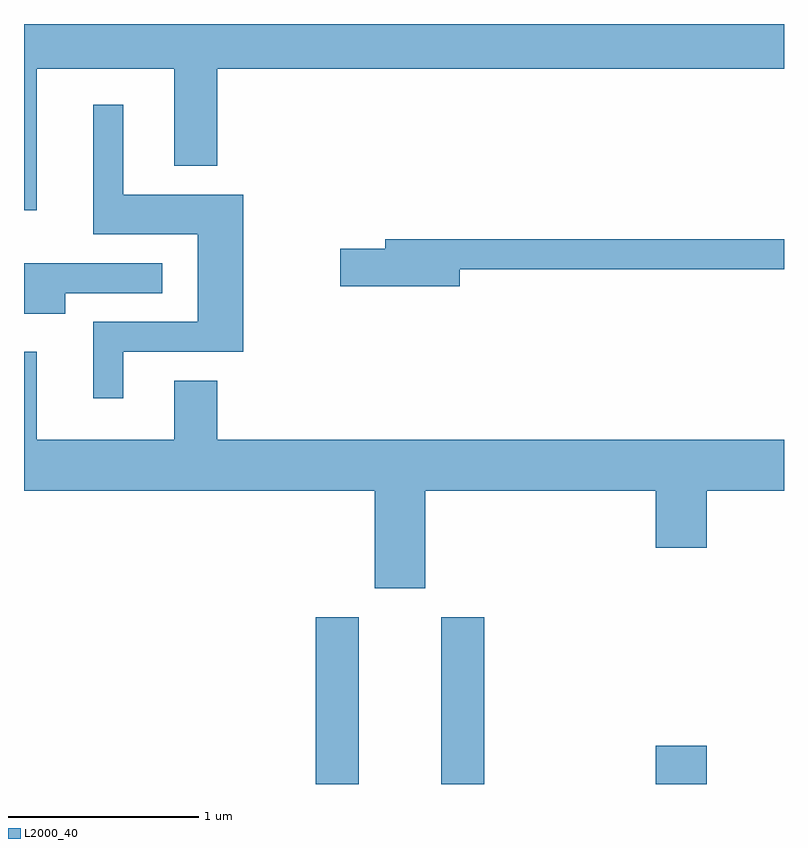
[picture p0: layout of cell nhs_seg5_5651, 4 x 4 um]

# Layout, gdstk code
import gdstk
lib = gdstk.Library(unit=1e-6, precision=1e-09)
def R(c, l, rs):  # rectangles x0, y0, x1, y1
    for r in rs: c.add(gdstk.rectangle(r[:2], r[2:], *l))
def P(c, l, *ps):  # polygons
    for p in ps: c.add(gdstk.Polygon(p, *l))
L2000_40 = (2000, 40)

nhs_seg5_5651 = lib.new_cell('nhs_seg5_5651')
R(nhs_seg5_5651, L2000_40, [(353.146,1524.072,353.374,1524.949), (353.806,1524.072,354.034,1524.949), (354.936,1524.072,355.204,1524.274)])
P(nhs_seg5_5651, L2000_40, [(351.679,1527.836),(352.401,1527.836),(352.401,1527.326),(352.629,1527.326),(352.629,1527.836),(355.611,1527.836),(355.611,1528.072),(351.611,1528.072),(351.611,1527.093),(351.679,1527.093)],
  [(352.134,1526.346),(352.764,1526.346),(352.764,1527.174),(352.134,1527.174),(352.134,1527.648),(351.976,1527.648),(351.976,1526.966),(352.526,1526.966),(352.526,1526.504),(351.976,1526.504),(351.976,1526.103),(352.134,1526.103)],
  [(353.904,1526.781),(355.611,1526.781),(355.611,1526.939),(353.511,1526.939),(353.511,1526.889),(353.276,1526.889),(353.276,1526.691),(353.904,1526.691)],
  [(351.829,1526.656),(352.338,1526.656),(352.338,1526.814),(351.611,1526.814),(351.611,1526.546),(351.829,1526.546)],
  [(353.724,1525.616),(354.936,1525.616),(354.936,1525.316),(355.204,1525.316),(355.204,1525.616),(355.611,1525.616),(355.611,1525.884),(352.629,1525.884),(352.629,1526.194),(352.401,1526.194),(352.401,1525.884),(351.679,1525.884),(351.679,1526.348),(351.611,1526.348),(351.611,1525.616),(353.456,1525.616),(353.456,1525.101),(353.724,1525.101)])

lib.write_gds('nhs_seg5_5651.gds')
